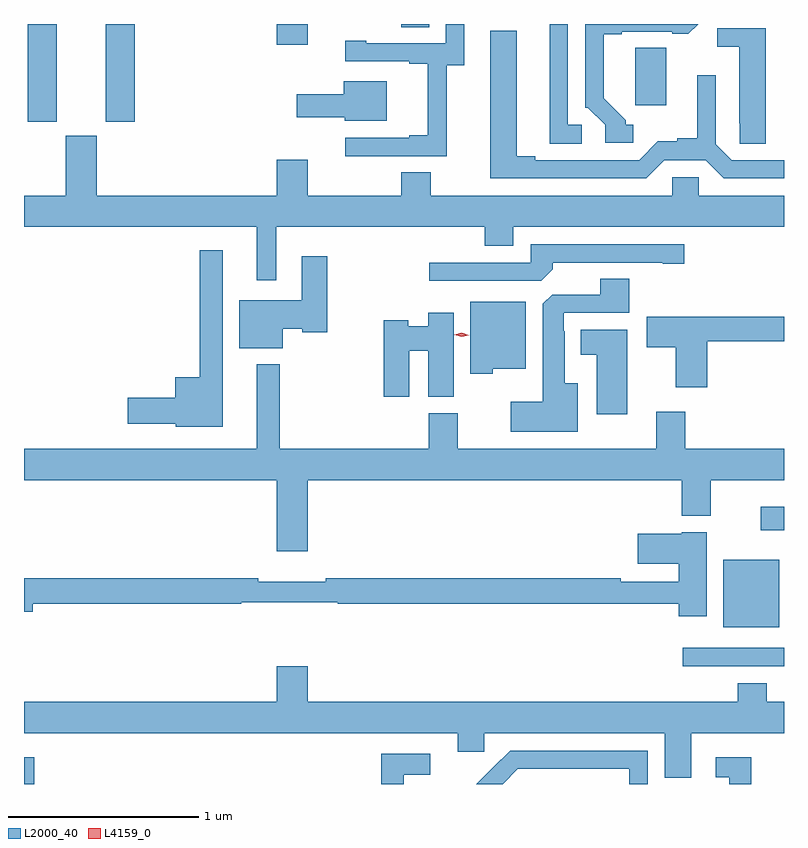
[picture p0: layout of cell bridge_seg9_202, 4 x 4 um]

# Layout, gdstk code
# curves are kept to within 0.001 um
import gdstk
lib = gdstk.Library(unit=1e-6, precision=1e-09)
def R(c, l, rs):  # rectangles x0, y0, x1, y1
    for r in rs: c.add(gdstk.rectangle(r[:2], r[2:], *l))
def P(c, l, *ps):  # polygons
    for p in ps: c.add(gdstk.Polygon(p, *l))
L2000_40 = (2000, 40)
L4159_0 = (4159, 0)

bridge_seg9_202 = lib.new_cell('bridge_seg9_202')
R(bridge_seg9_202, L2000_40, [(199.643,1205.476,199.697,1205.617), (203.109,1206.096,203.643,1206.192), (203.324,1206.302,203.617,1206.655), (203.52,1206.812,203.643,1206.934), (199.664,1208.961,199.816,1209.476), (200.072,1208.961,200.225,1209.476), (200.972,1209.366,201.136,1209.476), (201.628,1209.46,201.775,1209.476)])
P(bridge_seg9_202, L2000_40, [(202.579,1208.946),(202.506,1208.946),(202.506,1209.476),(202.409,1209.476),(202.409,1208.845),(202.579,1208.845)],
  [(201.867,1209.259),(201.961,1209.259),(201.961,1209.476),(201.864,1209.476),(201.864,1209.375),(201.445,1209.375),(201.445,1209.388),(201.333,1209.388),(201.333,1209.279),(201.671,1209.279),(201.671,1209.267),(201.767,1209.267),(201.767,1208.89),(201.671,1208.89),(201.671,1208.877),(201.333,1208.877),(201.333,1208.781),(201.867,1208.781)],
  [(202.849,1208.946),(202.81,1208.946),(202.81,1208.97),(202.693,1209.086),(202.693,1209.423),(202.789,1209.423),(202.789,1209.435),(203.054,1209.435),(203.054,1209.424),(203.14,1209.424),(203.192,1209.476),(202.596,1209.476),(202.596,1209.036),(202.611,1209.036),(202.701,1208.946),(202.701,1208.85),(202.849,1208.85)],
  [(203.548,1209.453),(203.292,1209.453),(203.292,1209.356),(203.408,1209.356),(203.408,1208.953),(203.409,1208.953),(203.409,1208.845),(203.548,1208.845)],
  [(203.013,1208.76),(203.231,1208.76),(203.327,1208.664),(203.643,1208.664),(203.643,1208.76),(203.367,1208.76),(203.283,1208.844),(203.283,1209.205),(203.186,1209.205),(203.186,1208.876),(203.082,1208.876),(203.082,1208.858),(202.979,1208.858),(202.881,1208.76),(202.333,1208.76),(202.333,1208.78),(202.237,1208.78),(202.237,1209.44),(202.098,1209.44),(202.097,1208.664),(202.917,1208.664)],
  [(203.023,1209.192),(203.022,1209.192),(203.022,1209.35),(202.859,1209.35),(202.859,1209.048),(203.023,1209.048)],
  [(201.553,1209.175),(201.326,1209.175),(201.326,1209.106),(201.078,1209.106),(201.078,1208.984),(201.33,1208.984),(201.33,1208.966),(201.553,1208.966)],
  [(200.971,1208.408),(202.067,1208.408),(202.067,1208.309),(202.219,1208.309),(202.219,1208.408),(203.643,1208.408),(203.643,1208.572),(203.193,1208.572),(203.193,1208.67),(203.055,1208.67),(203.055,1208.572),(201.783,1208.572),(201.783,1208.696),(201.628,1208.696),(201.628,1208.572),(201.136,1208.572),(201.136,1208.761),(200.972,1208.761),(200.972,1208.572),(200.026,1208.572),(200.026,1208.889),(199.862,1208.889),(199.862,1208.572),(199.643,1208.572),(199.643,1208.408),(200.867,1208.408),(200.867,1208.127),(200.971,1208.127)],
  [(202.427,1208.186),(202.427,1208.22),(203.006,1208.22),(203.006,1208.215),(203.119,1208.215),(203.119,1208.316),(202.311,1208.316),(202.311,1208.22),(201.777,1208.22),(201.777,1208.124),(202.365,1208.124)],
  [(200.689,1208.284),(200.568,1208.284),(200.568,1207.618),(200.438,1207.618),(200.438,1207.508),(200.19,1207.508),(200.19,1207.373),(200.442,1207.373),(200.442,1207.355),(200.689,1207.355)],
  [(201.004,1207.871),(201.108,1207.871),(201.108,1207.853),(201.239,1207.853),(201.239,1208.254),(201.104,1208.254),(201.104,1208.023),(200.777,1208.023),(200.777,1207.769),(201.004,1207.769)],
  [(202.558,1207.585),(202.489,1207.585),(202.489,1207.859),(202.485,1207.859),(202.485,1207.956),(202.829,1207.956),(202.829,1208.135),(202.676,1208.135),(202.676,1208.052),(202.422,1208.052),(202.373,1208.003),(202.373,1207.489),(202.206,1207.489),(202.206,1207.331),(202.558,1207.331)],
  [(202.11,1207.661),(202.285,1207.661),(202.285,1208.014),(201.992,1208.014),(201.992,1207.634),(202.11,1207.634)],
  [(201.904,1207.957),(201.77,1207.957),(201.77,1207.885),(201.666,1207.885),(201.666,1207.916),(201.536,1207.916),(201.536,1207.515),(201.67,1207.515),(201.67,1207.756),(201.77,1207.756),(201.77,1207.513),(201.904,1207.513)],
  [(203.24,1207.807),(203.643,1207.807),(203.643,1207.936),(202.92,1207.936),(202.92,1207.774),(203.072,1207.774),(203.072,1207.563),(203.24,1207.563)],
  [(202.819,1207.867),(202.574,1207.867),(202.574,1207.736),(202.658,1207.736),(202.658,1207.422),(202.819,1207.422)],
  [(201.136,1207.076),(203.105,1207.076),(203.105,1206.887),(203.257,1206.887),(203.257,1207.076),(203.643,1207.076),(203.643,1207.24),(203.123,1207.24),(203.123,1207.435),(202.97,1207.435),(202.97,1207.24),(201.925,1207.24),(201.925,1207.428),(201.773,1207.428),(201.773,1207.24),(200.989,1207.24),(200.989,1207.684),(200.867,1207.684),(200.867,1207.24),(199.643,1207.24),(199.643,1207.076),(200.972,1207.076),(200.972,1206.702),(201.136,1206.702)],
  [(203.236,1206.802),(203.106,1206.802),(203.106,1206.793),(202.872,1206.793),(202.872,1206.635),(203.09,1206.635),(203.09,1206.54),(202.784,1206.54),(202.784,1206.56),(201.232,1206.56),(201.232,1206.541),(200.876,1206.541),(200.876,1206.56),(199.643,1206.56),(199.643,1206.382),(199.69,1206.382),(199.69,1206.424),(200.786,1206.424),(200.786,1206.432),(201.293,1206.432),(201.293,1206.424),(203.09,1206.424),(203.09,1206.36),(203.236,1206.36)],
  [(203.155,1205.744),(203.643,1205.744),(203.643,1205.908),(203.551,1205.908),(203.551,1206.007),(203.399,1206.007),(203.399,1205.908),(201.136,1205.908),(201.136,1206.097),(200.972,1206.097),(200.972,1205.908),(199.643,1205.908),(199.643,1205.744),(201.926,1205.744),(201.926,1205.646),(202.065,1205.646),(202.065,1205.744),(203.015,1205.744),(203.015,1205.509),(203.155,1205.509)],
  [(202.242,1205.556),(202.829,1205.556),(202.829,1205.476),(202.926,1205.476),(202.926,1205.652),(202.202,1205.652),(202.111,1205.561),(202.11,1205.562),(202.024,1205.476),(202.162,1205.476)],
  [(201.641,1205.526),(201.781,1205.526),(201.781,1205.634),(201.523,1205.634),(201.523,1205.476),(201.641,1205.476)],
  [(203.471,1205.617),(203.283,1205.617),(203.283,1205.511),(203.355,1205.511),(203.355,1205.476),(203.471,1205.476)])
P(bridge_seg9_202, L4159_0, [(201.947,1207.83),(201.908,1207.84),(201.908,1207.84),(201.908,1207.84),(201.947,1207.85),(201.985,1207.839),(201.985,1207.839),(201.985,1207.839)])

lib.write_gds('bridge_seg9_202.gds')
